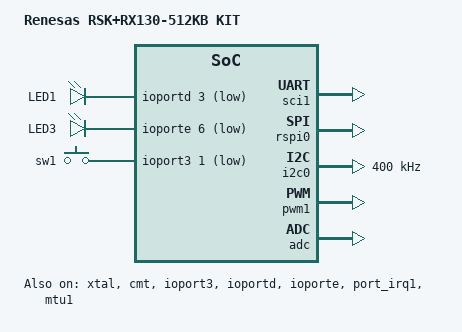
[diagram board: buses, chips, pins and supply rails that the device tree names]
/*
 * Copyright (c) 2024 Renesas Electronics Corporation
 *
 * SPDX-License-Identifier: Apache-2.0
 */

/dts-v1/;

#include <renesas/r5f51308axfp.dtsi>
#include <dt-bindings/gpio/gpio.h>
#include "rsk_rx130_512kb-pinctrl.dtsi"
#include <zephyr/dt-bindings/input/input-event-codes.h>
#include <zephyr/dt-bindings/adc/adc.h>

/ {
	model = "Renesas RSK+RX130-512KB KIT";
	compatible = "renesas,rsk_rx130_512kb";

	chosen {
		zephyr,sram = &sram0;
		zephyr,flash = &code_flash;
		zephyr,flash-controller = &flash;
		zephyr,console = &uart1;
		zephyr,shell-uart = &uart1;
	};

	leds {
		compatible = "gpio-leds";

		led1: led1 {
			gpios = <&ioportd 3 GPIO_ACTIVE_LOW>;
			label = "LED1";
		};

		led3: led3 {
			gpios = <&ioporte 6 GPIO_ACTIVE_LOW>;
			label = "LED3";
		};
	};

	buttons {
		compatible = "gpio-keys";

		sw1: button {
			label = "sw1";
			gpios = <&ioport3 1 (GPIO_PULL_UP | GPIO_ACTIVE_LOW)>;
			zephyr,code = <INPUT_KEY_0>;
		};
	};

	aliases {
		led0 = &led1;
		led1 = &led3;
		sw0 = &sw1;
	};
};

&xtal {
	clock-frequency = <DT_FREQ_M(8)>;
	mosel = <0>;
	#clock-cells = <0>;
	status = "okay";
};

&subclk {
	status = "okay";
};

&pll {
	div = <2>;
	mul = <RX_PLL_MUL_8>;
	status = "okay";
};

&cmt {
	clock-frequency = <4000000>;
	status = "okay";
};

&ioport3 {
	status = "okay";
};

&ioportd {
	status = "okay";
};

&ioporte {
	status = "okay";
};

&sci1 {
	pinctrl-0 = <&sci1_default>;
	pinctrl-names = "default";
	status = "okay";

	uart1: uart {
		current-speed = <115200>;
		status = "okay";
	};
};

&rspi0 {
	pinctrl-0 = <&rspi0_default>;
	pinctrl-names = "default";
	ssl-assert = <0>;
	status = "okay";
};

&i2c0 {
	pinctrl-0 = <&i2c0_default>;
	pinctrl-names = "default";
	clock-frequency = <DT_FREQ_K(400)>;
};

&port_irq1 {
	status = "okay";
};

&mtu1 {
	status = "okay";
	pinctrl-0 = <&pwm1_default>;
	pinctrl-names = "default";

	pwm1: pwm {
		status = "okay";
	};
};

&data_flash {
	partitions {
		compatible = "fixed-partitions";
		#address-cells = <1>;
		#size-cells = <1>;

		storage_partition: partition@0 {
			label = "storage";
			reg = <0X0 DT_SIZE_K(8)>;
		};
	};
};

&adc {
	pinctrl-0 = <&adc_default>;
	pinctrl-names = "default";
	status = "okay";
};
